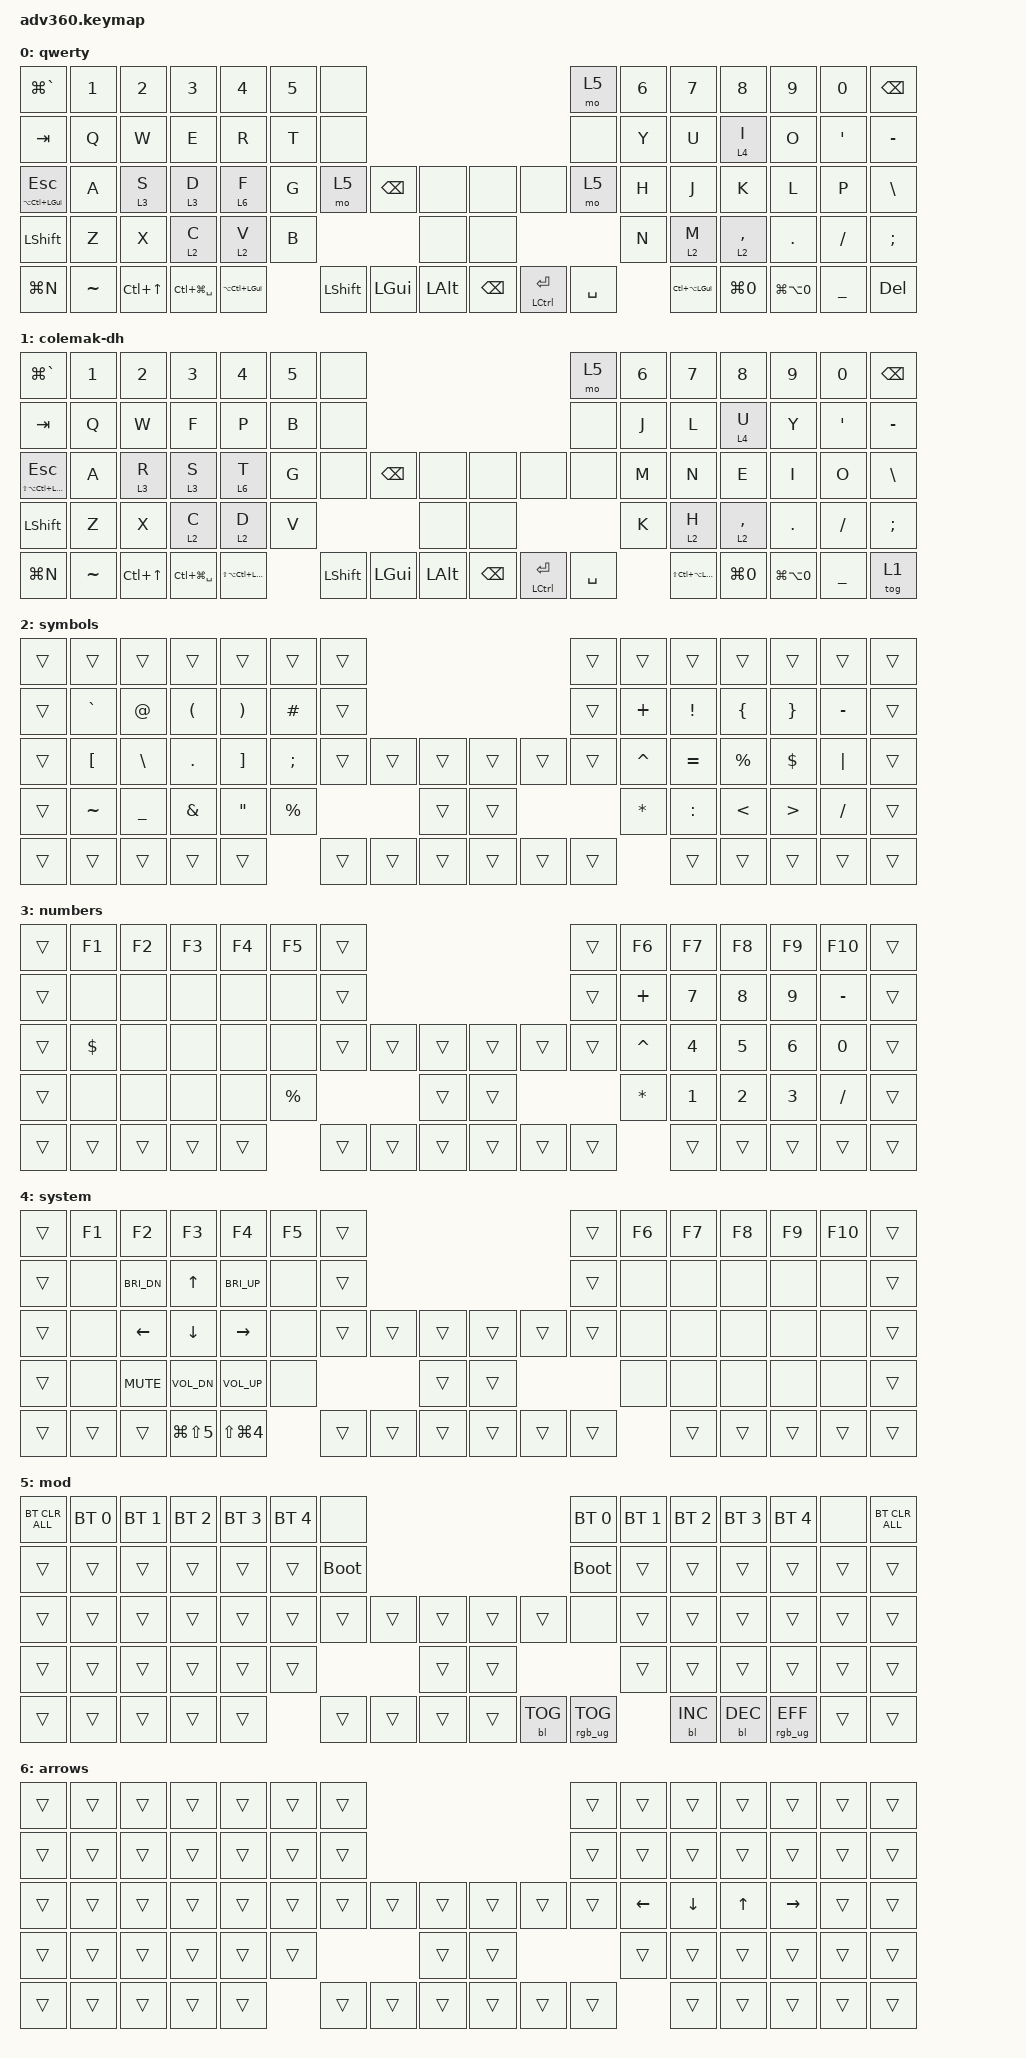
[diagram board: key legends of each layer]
#include <behaviors.dtsi>
#include <dt-bindings/zmk/backlight.h>
#include <dt-bindings/zmk/bt.h>
#include <dt-bindings/zmk/keys.h>
#include <dt-bindings/zmk/rgb.h>

/ {
    behaviors {
        #include "macros.dtsi"
      #include "version.dtsi"
      #ifndef VERSION_MACRO

        macro_ver: macro_ver {
            compatible = "zmk,behavior-macro";
            label = "macro_version";
            #binding-cells = <0>;
            bindings = <&kp RET>;
        };

        #endif

        hm: homerow_mods {
            compatible = "zmk,behavior-hold-tap";
            label = "HOMEROW_MODS";
            #binding-cells = <2>;
            tapping-term-ms = <200>;
            quick_tap_ms = <175>;
            flavor = "tap-preferred";
            bindings = <&kp>, <&kp>;
        };
    };

    macros {
    };

    keymap {
        compatible = "zmk,keymap";

        qwerty {
            bindings = <
&kp LG(GRAVE)            &kp N1     &kp N2            &kp N3             &kp N4            &kp N5  &none                                                                             &mo 5      &kp N6  &kp N7            &kp N8            &kp N9                &kp N0          &kp BACKSPACE
&kp TAB                  &kp Q      &kp W             &kp E              &kp R             &kp T   &none                                                                             &none      &kp Y   &kp U             &lt 4 I           &kp O                 &kp APOSTROPHE  &kp MINUS
&mt LA(LC(LGUI)) ESCAPE  &kp A      &lt 3 S           &lt 3 D            &lt 6 F           &kp G   &mo 5           &kp BACKSPACE  &none             &none          &none             &mo 5      &kp H   &kp J             &kp K             &kp L                 &kp P           &kp BACKSLASH
&kp LEFT_SHIFT           &kp Z      &kp X             &lt 2 C            &lt 2 V           &kp B                                  &none             &none                                       &kp N   &lt 2 M           &lt 2 COMMA       &kp DOT               &kp FSLH        &kp SEMI
&kp LG(N)                &kp TILDE  &kp LC(UP_ARROW)  &kp LC(LG(SPACE))  &kp LA(LC(LGUI))          &kp LEFT_SHIFT  &kp LGUI       &kp LEFT_ALT      &kp BACKSPACE  &mt LCTRL RETURN  &kp SPACE          &kp LC(LA(LGUI))  &kp LG(NUMBER_0)  &kp LG(LA(NUMBER_0))  &kp UNDERSCORE  &kp DELETE
            >;
        };

        colemak-dh {
            bindings = <
&kp LG(GRAVE)                &kp N1     &kp N2            &kp N3             &kp N4                &kp N5  &none                                                                            &mo 5      &kp N6  &kp N7                &kp N8            &kp N9                &kp N0          &kp BACKSPACE
&kp TAB                      &kp Q      &kp W             &kp F              &kp P                 &kp B   &none                                                                            &none      &kp J   &kp L                 &lt 4 U           &kp Y                 &kp APOSTROPHE  &kp MINUS
&mt LS(LA(LC(LGUI))) ESCAPE  &kp A      &lt 3 R           &lt 3 S            &lt 6 T               &kp G   &none           &kp BACKSPACE  &none             &none          &none            &none      &kp M   &kp N                 &kp E             &kp I                 &kp O           &kp BACKSLASH
&kp LEFT_SHIFT               &kp Z      &kp X             &lt 2 C            &lt 2 D               &kp V                                  &none             &none                                      &kp K   &lt 2 H               &lt 2 COMMA       &kp DOT               &kp FSLH        &kp SEMI
&kp LG(N)                    &kp TILDE  &kp LC(UP_ARROW)  &kp LC(LG(SPACE))  &kp LS(LA(LC(LGUI)))          &kp LEFT_SHIFT  &kp LGUI       &kp LEFT_ALT      &kp BACKSPACE  &mt LCTRL ENTER  &kp SPACE          &kp LS(LC(LA(LGUI)))  &kp LG(NUMBER_0)  &kp LG(LA(NUMBER_0))  &kp UNDERSCORE  &tog 1
            >;
        };

        symbols {
            bindings = <
&trans  &trans            &trans         &trans                &trans                 &trans       &trans                                      &trans  &trans        &trans           &trans          &trans            &trans     &trans
&trans  &kp GRAVE         &kp AT_SIGN    &kp LEFT_PARENTHESIS  &kp RIGHT_PARENTHESIS  &kp HASH     &trans                                      &trans  &kp PLUS      &kp EXCLAMATION  &kp LEFT_BRACE  &kp RIGHT_BRACE   &kp MINUS  &trans
&trans  &kp LEFT_BRACKET  &kp BACKSLASH  &kp PERIOD            &kp RIGHT_BRACKET      &kp SEMI     &trans  &trans  &trans      &trans  &trans  &trans  &kp CARET     &kp EQUAL        &kp PERCENT     &kp DOLLAR        &kp PIPE   &trans
&trans  &kp TILDE         &kp UNDER      &kp AMPERSAND         &kp DOUBLE_QUOTES      &kp PERCENT                  &trans      &trans                  &kp ASTERISK  &kp COLON        &kp LESS_THAN   &kp GREATER_THAN  &kp SLASH  &trans
&trans  &trans            &trans         &trans                &trans                              &trans  &trans  &trans      &trans  &trans  &trans                &trans           &trans          &trans            &trans     &trans
            >;
        };

        numbers {
            bindings = <
&trans  &kp F1      &kp F2  &kp F3  &kp F4  &kp F5       &trans                                      &trans  &kp F6        &kp F7        &kp F8        &kp F9        &kp F10    &trans
&trans  &none       &none   &none   &none   &none        &trans                                      &trans  &kp PLUS      &kp NUMBER_7  &kp N8        &kp N9        &kp MINUS  &trans
&trans  &kp DOLLAR  &none   &none   &none   &none        &trans  &trans  &trans      &trans  &trans  &trans  &kp CARET     &kp NUMBER_4  &kp N5        &kp NUMBER_6  &kp N0     &trans
&trans  &none       &none   &none   &none   &kp PERCENT                  &trans      &trans                  &kp ASTERISK  &kp NUMBER_1  &kp NUMBER_2  &kp NUMBER_3  &kp SLASH  &trans
&trans  &trans      &trans  &trans  &trans               &trans  &trans  &trans      &trans  &trans  &trans                &trans        &trans        &trans        &trans     &trans
            >;
        };

        system {
            bindings = <
&trans  &kp F1  &kp F2          &kp F3          &kp F4                &kp F5  &trans                                      &trans  &kp F6  &kp F7  &kp F8  &kp F9  &kp F10  &trans
&trans  &none   &kp C_BRI_DN    &kp UP_ARROW    &kp C_BRI_UP          &none   &trans                                      &trans  &none   &none   &none   &none   &none    &trans
&trans  &none   &kp LEFT_ARROW  &kp DOWN        &kp RIGHT             &none   &trans  &trans  &trans      &trans  &trans  &trans  &none   &none   &none   &none   &none    &trans
&trans  &none   &kp C_MUTE      &kp C_VOL_DN    &kp C_VOL_UP          &none                   &trans      &trans                  &none   &none   &none   &none   &none    &trans
&trans  &trans  &trans          &kp LG(LS(N5))  &kp LS(LG(NUMBER_4))          &trans  &trans  &trans      &trans  &trans  &trans          &trans  &trans  &trans  &trans   &trans
            >;
        };

        mod {
            bindings = <
&bt BT_CLR_ALL  &bt BT_SEL 0  &bt BT_SEL 1  &bt BT_SEL 2  &bt BT_SEL 3  &bt BT_SEL 4  &none                                                &bt BT_SEL 0     &bt BT_SEL 1  &bt BT_SEL 2  &bt BT_SEL 3  &bt BT_SEL 4     &none   &bt BT_CLR_ALL
&trans          &trans        &trans        &trans        &trans        &trans        &bootloader                                          &bootloader      &trans        &trans        &trans        &trans           &trans  &trans
&trans          &trans        &trans        &trans        &trans        &trans        &trans       &trans  &trans      &trans  &trans      &none            &trans        &trans        &trans        &trans           &trans  &trans
&trans          &trans        &trans        &trans        &trans        &trans                             &trans      &trans                               &trans        &trans        &trans        &trans           &trans  &trans
&trans          &trans        &trans        &trans        &trans                      &trans       &trans  &trans      &trans  &bl BL_TOG  &rgb_ug RGB_TOG                &bl BL_INC    &bl BL_DEC    &rgb_ug RGB_EFF  &trans  &trans
            >;
        };

        arrows {
            bindings = <
&trans  &trans  &trans  &trans  &trans  &trans  &trans                                      &trans  &trans    &trans    &trans        &trans     &trans  &trans
&trans  &trans  &trans  &trans  &trans  &trans  &trans                                      &trans  &trans    &trans    &trans        &trans     &trans  &trans
&trans  &trans  &trans  &trans  &trans  &trans  &trans  &trans  &trans      &trans  &trans  &trans  &kp LEFT  &kp DOWN  &kp UP_ARROW  &kp RIGHT  &trans  &trans
&trans  &trans  &trans  &trans  &trans  &trans                  &trans      &trans                  &trans    &trans    &trans        &trans     &trans  &trans
&trans  &trans  &trans  &trans  &trans          &trans  &trans  &trans      &trans  &trans  &trans            &trans    &trans        &trans     &trans  &trans
            >;
        };
    };
};
